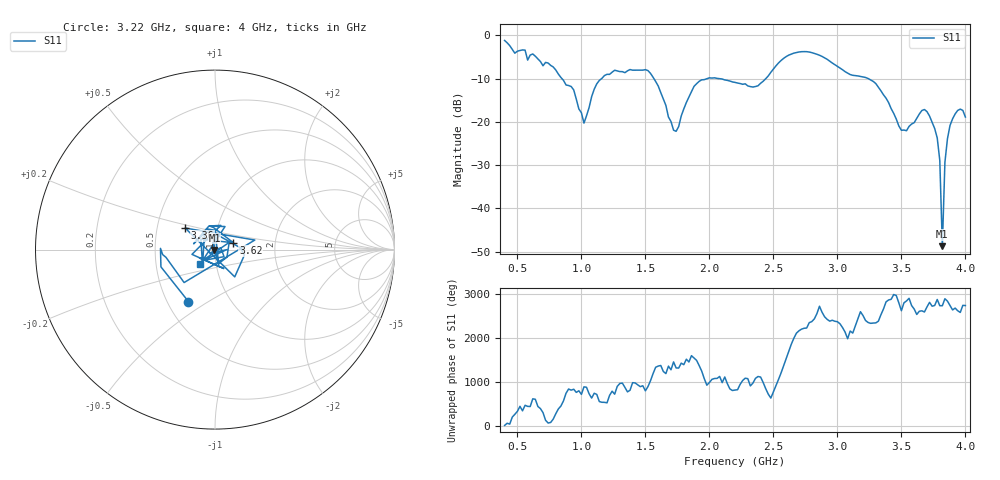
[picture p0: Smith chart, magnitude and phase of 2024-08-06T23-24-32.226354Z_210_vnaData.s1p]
!Created with skrf (http://scikit-rf.org).
# Hz S RI R 50.0
!freq ReS11 ImS11
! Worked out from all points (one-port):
!   181 points, 400 MHz to 4 GHz, reference 50 ohm
!   lowest |S11| = -48.7 dB at 3.82 GHz (marker M1), VSWR 1.01, Z = 49.7 - j0.229 ohm
!   |S11| at or under -10 dB: 1.566 GHz to 1.985 GHz (418.7 MHz wide, 23.6 % of centre); 2.07 GHz to 2.441 GHz (371.1 MHz wide, 16.5 % of centre); 3.24 GHz to end of sweep (the widest 3 of 4)
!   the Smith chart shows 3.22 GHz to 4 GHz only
!   S11 on the Smith chart (normalised r, x): 3.22 GHz: 0.64, -0.41; 3.36 GHz: 0.70, +0.17; 3.62 GHz: 1.23, +0.09; 4 GHz: 0.84, -0.13
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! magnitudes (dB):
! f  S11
! 400 MHz  -1.2
! 860 MHz  -10.4
! 940 MHz  -12.6
! 1.02 GHz  -20.3
! 1.12 GHz  -11.2
! 1.3 GHz  -8.4
! 1.52 GHz  -8.2
! 1.6 GHz  -11.7
! 1.72 GHz  -21.9
! 1.76 GHz  -21.1
! 1.92 GHz  -10.7
! 2.2 GHz  -10.9
! 2.38 GHz  -11.7
! 2.66 GHz  -4.1
! 3.1 GHz  -9.1
! 3.22 GHz  -9.8
! 3.36 GHz  -13.8
! 3.5 GHz  -22.0
! 3.56 GHz  -21.1
! 3.62 GHz  -19.2
! 3.7 GHz  -17.7
! 3.78 GHz  -23.7
! 3.8 GHz  -28.9
! 3.82 GHz  -48.7
! 3.84 GHz  -29.4
! 3.86 GHz  -23.9
! 3.94 GHz  -17.4
! 4 GHz  -18.9
